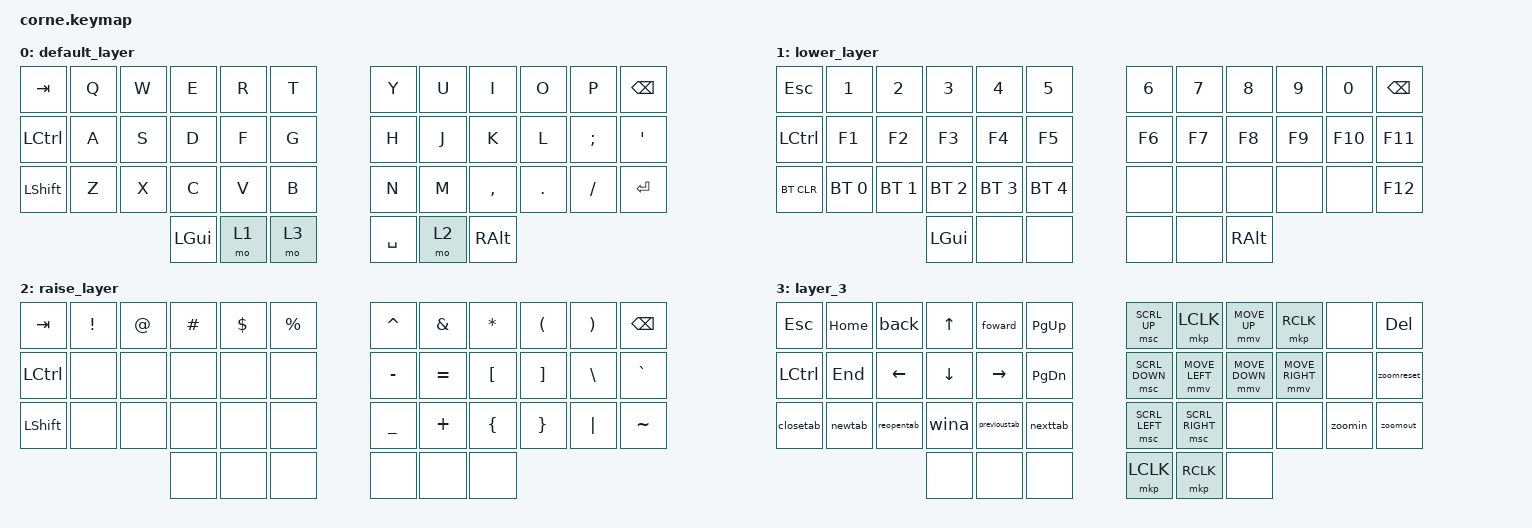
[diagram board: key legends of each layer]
/*
 * Copyright (c) 2020 The ZMK Contributors
 *
 * SPDX-License-Identifier: MIT
 */

#include <behaviors.dtsi>
#include <dt-bindings/zmk/bt.h>
#include <dt-bindings/zmk/keys.h>
#include <dt-bindings/zmk/pointing.h>

/ {
    macros {
        nexttab: nexttab {
            compatible = "zmk,behavior-macro";
            #binding-cells = <0>;
            bindings = <&kp LC(TAB)>;
            label = "NEXTTAB";
        };

        previoustab: previoustab {
            compatible = "zmk,behavior-macro";
            #binding-cells = <0>;
            bindings = <&kp LC(LS(TAB))>;
            label = "PREVIOUSTAB";
        };

        wina: wina {
            compatible = "zmk,behavior-macro";
            #binding-cells = <0>;
            bindings = <&kp LG(A)>;
            label = "WINA";
        };

        reopentab: reopentab {
            compatible = "zmk,behavior-macro";
            #binding-cells = <0>;
            bindings = <&kp LC(LS(T))>;
            label = "REOPENTAB";
        };

        closetab: closetab {
            compatible = "zmk,behavior-macro";
            #binding-cells = <0>;
            bindings = <&kp LC(W)>;
            label = "CLOSETAB";
        };

        newtab: newtab {
            compatible = "zmk,behavior-macro";
            #binding-cells = <0>;
            bindings = <&kp LC(T)>;
            label = "NEWTAB";
        };

        back: back {
            compatible = "zmk,behavior-macro";
            #binding-cells = <0>;
            bindings = <&kp LA(LEFT_ARROW) &kp ESCAPE>;
            label = "BACK";
        };

        foward: foward {
            compatible = "zmk,behavior-macro";
            #binding-cells = <0>;
            bindings = <&kp LA(RIGHT_ARROW) &kp ESCAPE>;
            label = "FOWARD";
        };

        zoomin: zoomin {
            compatible = "zmk,behavior-macro";
            #binding-cells = <0>;
            bindings = <&kp LC(KP_PLUS)>;
            label = "ZOOMIN";
        };

        zoomout: zoomout {
            compatible = "zmk,behavior-macro";
            #binding-cells = <0>;
            bindings = <&kp LC(KP_MINUS)>;
            label = "ZOOMOUT";
        };

        zoomreset: zoomreset {
            compatible = "zmk,behavior-macro";
            #binding-cells = <0>;
            bindings = <&kp LC(KP_NUMBER_0)>;
            label = "ZOOMRESET";
        };
    };

    keymap {
        compatible = "zmk,keymap";

        default_layer {
            // -----------------------------------------------------------------------------------------
            // |  TAB |  Q  |  W  |  E  |  R  |  T  |   |  Y  |  U   |  I  |  O  |  P  | BSPC |
            // | CTRL |  A  |  S  |  D  |  F  |  G  |   |  H  |  J   |  K  |  L  |  ;  |  '   |
            // | SHFT |  Z  |  X  |  C  |  V  |  B  |   |  N  |  M   |  ,  |  .  |  /  | ESC  |
            //                    | GUI | LWR | SPC |   | ENT | RSE  | ALT |

            bindings = <
&kp TAB    &kp Q  &kp W  &kp E     &kp R  &kp T    &kp Y      &kp U  &kp I      &kp O    &kp P     &kp BSPC
&kp LCTRL  &kp A  &kp S  &kp D     &kp F  &kp G    &kp H      &kp J  &kp K      &kp L    &kp SEMI  &kp SQT
&kp LSHFT  &kp Z  &kp X  &kp C     &kp V  &kp B    &kp N      &kp M  &kp COMMA  &kp DOT  &kp FSLH  &kp ENTER
                         &kp LGUI  &mo 1  &mo 3    &kp SPACE  &mo 2  &kp RALT
            >;
        };

        lower_layer {
            // -----------------------------------------------------------------------------------------
            // |  TAB |  1  |  2  |  3  |  4  |  5  |   |  6  |  7  |  8  |  9  |  0  | BSPC |
            // | BTCLR| BT1 | BT2 | BT3 | BT4 | BT5 |   | LFT | DWN |  UP | RGT |     |      |
            // | SHFT |     |     |     |     |     |   |     |     |     |     |     |      |
            //                    | GUI |     | SPC |   | ENT |     | ALT |

            bindings = <
&kp ESC     &kp N1        &kp N2        &kp N3        &kp N4        &kp N5          &kp N6  &kp N7  &kp N8    &kp N9  &kp N0   &kp BSPC
&kp LCTRL   &kp F1        &kp F2        &kp F3        &kp F4        &kp F5          &kp F6  &kp F7  &kp F8    &kp F9  &kp F10  &kp F11
&bt BT_CLR  &bt BT_SEL 0  &bt BT_SEL 1  &bt BT_SEL 2  &bt BT_SEL 3  &bt BT_SEL 4    &none   &none   &none     &none   &none    &kp F12
                                        &kp LGUI      &none         &none           &none   &none   &kp RALT
            >;
        };

        raise_layer {
            // -----------------------------------------------------------------------------------------
            // |  TAB |  !  |  @  |  #  |  $  |  %  |   |  ^  |  &  |  *  |  (  |  )  | BSPC |
            // | CTRL |     |     |     |     |     |   |  -  |  =  |  [  |  ]  |  \  |  `   |
            // | SHFT |     |     |     |     |     |   |  _  |  +  |  {  |  }  | "|" |  ~   |
            //                    | GUI |     | SPC |   | ENT |     | ALT |

            bindings = <
&kp TAB    &kp EXCL  &kp AT  &kp HASH  &kp DLLR  &kp PRCNT    &kp CARET  &kp AMPS   &kp ASTRK  &kp LPAR  &kp RPAR  &kp BSPC
&kp LCTRL  &none     &none   &none     &none     &none        &kp MINUS  &kp EQUAL  &kp LBKT   &kp RBKT  &kp BSLH  &kp GRAVE
&kp LSHFT  &none     &none   &none     &none     &none        &kp UNDER  &kp PLUS   &kp LBRC   &kp RBRC  &kp PIPE  &kp TILDE
                             &none     &none     &none        &none      &none      &none
            >;
        };

        layer_3 {
            bindings = <
&kp ESCAPE  &kp HOME  &back           &kp UP_ARROW    &foward          &kp PAGE_UP      &msc SCRL_UP    &mkp LCLK        &mmv MOVE_UP    &mkp RCLK        &none    &kp DELETE
&kp LCTRL   &kp END   &kp LEFT_ARROW  &kp DOWN_ARROW  &kp RIGHT_ARROW  &kp PAGE_DOWN    &msc SCRL_DOWN  &mmv MOVE_LEFT   &mmv MOVE_DOWN  &mmv MOVE_RIGHT  &none    &zoomreset
&closetab   &newtab   &reopentab      &wina           &previoustab     &nexttab         &msc SCRL_LEFT  &msc SCRL_RIGHT  &none           &none            &zoomin  &zoomout
                                      &none           &none            &none            &mkp LCLK       &mkp RCLK        &none
            >;
        };
    };
};
